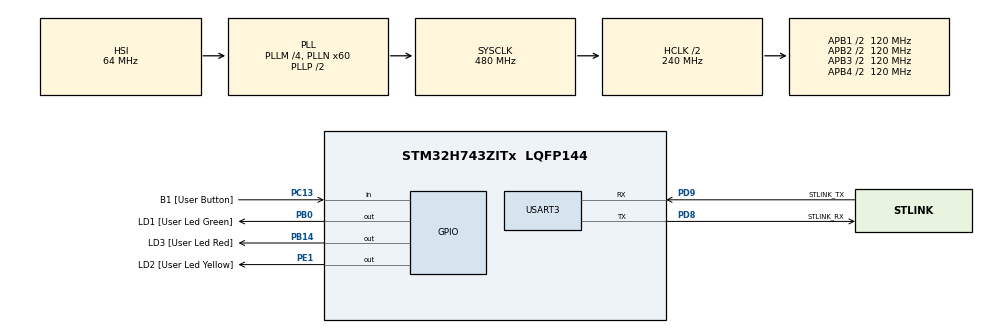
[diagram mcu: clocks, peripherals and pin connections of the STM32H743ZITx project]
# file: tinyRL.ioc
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CORTEX_M7.default_mode_Activation=1
Mcu.Family=STM32H7
Mcu.Name=STM32H743ZITx
Mcu.Package=LQFP144
NVIC.PriorityGroup=NVIC_PRIORITYGROUP_4
PA13\ (JTMS/SWDIO).GPIO_Label=JTMS
PA13\ (JTMS/SWDIO).Signal=DEBUG_JTMS-SWDIO
PA14\ (JTCK/SWCLK).GPIO_Label=JTCK
PA14\ (JTCK/SWCLK).Signal=DEBUG_JTCK-SWCLK
PB0.GPIO_Label=LD1 [User Led Green]
PB0.Signal=GPIO_Output
PB14.GPIO_Label=LD3 [User Led Red]
PB14.Signal=GPIO_Output
PC13.GPIO_Label=B1 [User Button]
PC13.Signal=GPIO_Input
PC14-OSC32_IN\ (OSC32_IN).Signal=RCC_OSC32_IN
PC15-OSC32_OUT\ (OSC32_OUT).Signal=RCC_OSC32_OUT
PD8.GPIO_Label=STLINK_RX
PD8.Mode=Asynchronous
PD8.Signal=USART3_TX
PD9.GPIO_Label=STLINK_TX
PD9.Mode=Asynchronous
PD9.Signal=USART3_RX
PE1.GPIO_Label=LD2 [User Led Yellow]
PE1.Signal=GPIO_Output
PH0-OSC_IN\ (PH0).Signal=RCC_OSC_IN
PH1-OSC_OUT\ (PH1).Signal=RCC_OSC_OUT
ProjectManager.HeapSize=0x200
ProjectManager.StackSize=0x400
ProjectManager.TargetToolchain=STM32CubeIDE
RCC.ADCFreq_Value=129000000
RCC.APB1Freq_Value=120000000
RCC.APB2Freq_Value=120000000
RCC.APB3Freq_Value=120000000
RCC.APB4Freq_Value=120000000
RCC.CortexFreq_Value=480000000
RCC.D1CPRE=RCC_SYSCLK_DIV1
RCC.D1PPRE=RCC_APB3_DIV2
RCC.D2PPRE1=RCC_APB1_DIV2
RCC.D2PPRE2=RCC_APB2_DIV2
RCC.D3PPRE=RCC_APB4_DIV2
RCC.DIVM1=4
RCC.DIVN1=60
RCC.DIVP1=2
RCC.DIVQ1=4
RCC.DIVR1=2
RCC.HCLKFreq_Value=240000000
RCC.HPRE=RCC_HCLK_DIV2
RCC.PLL1_VCI_Range=RCC_PLL1VCIRANGE_3
RCC.PLL1_VCO_SEL=RCC_PLL1VCOWIDE
RCC.PLLSourceVirtual=RCC_PLLSOURCE_HSI
RCC.PWR_Regulator_Voltage_Scale=PWR_REGULATOR_VOLTAGE_SCALE0
RCC.ProductRev=revV
RCC.SYSCLKFreq_VALUE=480000000
RCC.SYSCLKSource=RCC_SYSCLKSOURCE_PLLCLK
RCC.USBFreq_Value=240000000
USART3.VirtualMode-Asynchronous=VM_ASYNC
VP_MEMORYMAP_VS_MEMORYMAP.Mode=CurAppReg
board=NUCLEO-H743ZI2

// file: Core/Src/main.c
/* USER CODE BEGIN Header */
/**
 ******************************************************************************
 * @file           : main.c
 * @brief          : Main program body
 ******************************************************************************
 * @attention
 *
 * Copyright (c) 2026 STMicroelectronics.
 * All rights reserved.
 *
 * This software is licensed under terms that can be found in the LICENSE file
 * in the root directory of this software component.
 * If no LICENSE file comes with this software, it is provided AS-IS.
 *
 ******************************************************************************
 */
/* USER CODE END Header */
#include "main.h"

/* USER CODE BEGIN Includes */
#include "neural_net.h"
#include "uart.h"
#include "reinforce.h"
#include "utils.h"
#include "rng.h"
#include <math.h>
#include <stdio.h>
#include <string.h>

/* USER CODE END Includes */

UART_HandleTypeDef huart3;

/* USER CODE BEGIN PV */
#if TIME_LOG
static uint32_t num_episode = 0;   /* episodi conclusi (done inviato al PC) */
static uint32_t train_step  = 0;   /* update REINFORCE eseguiti */
#endif
/* USER CODE END PV */

void SystemClock_Config(void);
static void MPU_Config(void);
static void MX_GPIO_Init(void);
static void MX_USART3_UART_Init(void);

/* USER CODE BEGIN 0 */

/* ── Task: CartPole-v1 ────────────────────────────────────────────────────────
 * obs = [x, x_dot, theta, theta_dot], azioni discrete {0 = sinistra, 1 = destra}.
 * Terminazione: carrello oltre +-2.4 m, asta oltre +-12 gradi, o 500 step. */
#define CART_LIMIT  2.4f          /* +-2.4 m  */
#define POLE_LIMIT  0.20943951f   /* +-12 deg */

#if !USE_CONTINUOUS_ACTION
static float compute_reward(const float *obs, uint32_t act) {
    (void)obs; (void)act;
    return 1.0f;   // CartPole: +1 per ogni step non terminale
}
#else
static float compute_reward(const float *obs, const float *action) {
    (void)obs; (void)action;
    return 1.0f;
}
#endif

// Osservazione corrente condivisa con is_done (aggiornata nel loop prima di
// reinforce_step): la terminazione di CartPole dipende dallo stato, non solo
// dal contatore di step.
static float s_cur_obs[OBS_DIM];

static uint8_t is_done(uint32_t step_in_ep) {
    if (step_in_ep >= MAX_STEPS_PER_EP)   return 1;   // troncamento a 500 step
    if (fabsf(s_cur_obs[0]) > CART_LIMIT) return 1;   // fuori pista
    if (fabsf(s_cur_obs[2]) > POLE_LIMIT) return 1;   // asta caduta
    return 0;
}

#if BENCH_KERNELS
/* Micro-benchmark eseguito una volta all'avvio, prima del loop di training.
 * Attribuisce il costo del forward alle sue componenti: dice quanto del tempo
 * per step stia nelle funzioni trascendenti (che newlib implementa in
 * software) e quanto nel prodotto matrice-vettore.
 *
 * Su REINFORCE discreto il forward finisce con un softmax (expf per azione) e
 * il backward con i logf dell'entropia: sono le uniche trascendenti del
 * percorso caldo, e questo dice quanto pesano davvero.
 *
 * Emette righe "<<<BENCH>>>nome,cicli_per_chiamata". Il costo include
 * l'overhead di loop: la riga "loop" e' la baseline da sottrarre. Il `volatile
 * sink` impedisce a -Ofast di eliminare tutto come codice morto. */
static void bench_emit(const char *name, uint32_t cycles, uint32_t n) {
  char line[96];
  int k = snprintf(line, sizeof(line), "<<<BENCH>>>%s,%lu\n",
                   name, (unsigned long)(cycles / n));
  HAL_UART_Transmit(&huart3, (uint8_t *)line, k, 1000);
}

static void bench_kernels(Network *policy) {
  enum { NB = 4096 };
  volatile float sink = 0.f;
  float in[16], obs[OBS_DIM];
  uint32_t t0;

  for (int i = 0; i < 16; i++)
    in[i] = -4.0f + 0.5f * (float)i;          /* pre-attivazioni tipiche */
  for (int i = 0; i < OBS_DIM; i++)
    obs[i] = 0.1f * (float)i;

  t0 = dwt_ticks();
  for (int i = 0; i < NB; i++) sink += in[i & 15];
  bench_emit("loop", dwt_delta(t0, dwt_ticks()), NB);

  t0 = dwt_ticks();
  for (int i = 0; i < NB; i++) sink += expf(in[i & 15]);
  bench_emit("expf", dwt_delta(t0, dwt_ticks()), NB);

  t0 = dwt_ticks();
  for (int i = 0; i < NB; i++) sink += logf(fabsf(in[i & 15]) + 0.1f);
  bench_emit("logf", dwt_delta(t0, dwt_ticks()), NB);

  t0 = dwt_ticks();
  for (int i = 0; i < NB; i++) sink += tanhf(in[i & 15]);
  bench_emit("tanhf", dwt_delta(t0, dwt_ticks()), NB);

  t0 = dwt_ticks();
  for (int i = 0; i < NB; i++) sink += sqrtf(fabsf(in[i & 15]) + 0.1f);
  bench_emit("sqrtf", dwt_delta(t0, dwt_ticks()), NB);

  t0 = dwt_ticks();
  for (int i = 0; i < NB; i++) network_forward(policy, obs, NULL);
  bench_emit("policy_fwd", dwt_delta(t0, dwt_ticks()), NB);

  (void)sink;

  /* Il benchmark dura qualche decimo di secondo, durante i quali il PC sta
   * gia' trasmettendo e la RX va in overrun: stesso ripristino di on_train_end.
   * Senza, il flag ORE resta alto e la prima ricezione non riparte piu'. */
  __HAL_UART_CLEAR_OREFLAG(&huart3);
  __HAL_UART_SEND_REQ(&huart3, UART_RXDATA_FLUSH_REQUEST);
}
#endif /* BENCH_KERNELS */

static void on_train_begin(void) {
    HAL_GPIO_WritePin(LD2_GPIO_Port, LD2_Pin, GPIO_PIN_SET);
}

#if TIME_LOG
/* Una riga CSV di timing per ogni update, spedita subito dopo l'update stesso.
 * Il PC la appende al file mentre il training prosegue: niente buffer da
 * riempire e nessun dump unico da perdere, ogni riga e' indipendente. Formato:
 *   <<<PROF>>>episode,steps,total_ms,forward_ms,backward_ms,adam_ms\n
 * I tempi arrivano da g_train_timing (cicli a 64 bit) e vengono convertiti in
 * microsecondi, poi stampati come ms con 3 decimali (us/1000 . us%1000): niente
 * printf-float e niente long long, che newlib-nano non sempre supporta. */
static void prof_emit_row(UART_HandleTypeDef *huart)
{
  char line[128];
  uint32_t t = cycles64_to_us(g_train_timing.total_cycles);
  uint32_t f = cycles64_to_us(g_train_timing.forward_cycles);
  uint32_t b = cycles64_to_us(g_train_timing.backward_cycles);
  uint32_t a = cycles64_to_us(g_train_timing.adam_cycles);

  int n = snprintf(line, sizeof(line),
                   "<<<PROF>>>%lu,%lu,%lu.%03lu,%lu.%03lu,%lu.%03lu,%lu.%03lu\n",
                   (unsigned long)num_episode,
                   (unsigned long)train_step,
                   (unsigned long)(t / 1000), (unsigned long)(t % 1000),
                   (unsigned long)(f / 1000), (unsigned long)(f % 1000),
                   (unsigned long)(b / 1000), (unsigned long)(b % 1000),
                   (unsigned long)(a / 1000), (unsigned long)(a % 1000));
  HAL_UART_Transmit(huart, (uint8_t *)line, n, 1000);
}
#endif /* TIME_LOG */

static void on_train_end(void) {
    HAL_GPIO_WritePin(LD2_GPIO_Port, LD2_Pin, GPIO_PIN_RESET);

#if TIME_LOG
    /* I tempi (total/forward/backward/adam) di questo update sono in
     * g_train_timing, misurati dentro reinforce_update: spediamo la riga adesso,
     * prima del flush RX qui sotto, cosi' il PC la legge nello stesso momento in
     * cui torna a leggere l'azione. */
    prof_emit_row(&huart3);
    train_step++;
#endif

    // Durante la pausa di training la UART e' andata in overrun e nella RX si
    // sono accumulati byte (ritrasmissioni del PC). Azzeriamo l'overrun e
    // svuotiamo la RX cosi' la lettura riparte allineata su un frame nuovo.
    __HAL_UART_CLEAR_OREFLAG(&huart3);
    __HAL_UART_SEND_REQ(&huart3, UART_RXDATA_FLUSH_REQUEST);
}
/* USER CODE END 0 */

int main(void) {

  /* USER CODE BEGIN 1 */
  SCB_EnableICache();
  SCB_EnableDCache();
  /* USER CODE END 1 */

  /* MPU Configuration--------------------------------------------------------*/
  MPU_Config();

  /* MCU Configuration--------------------------------------------------------*/

  /* Reset of all peripherals, Initializes the Flash interface and the Systick.
   */
  HAL_Init();

  /* Configure the system clock */
  SystemClock_Config();

  /* Initialize all configured peripherals */
  MX_GPIO_Init();
  MX_USART3_UART_Init();
  /* USER CODE BEGIN 2 */
  dwt_init();
  rng_seed(HAL_GetTick());

  Network        policy;
  ReinforceAgent agent;

#if USE_CONTINUOUS_ACTION
  int topology[]        = {OBS_DIM, 64, 64, REINFORCE_POLICY_OUT_DIM};
  ActivationType acts[] = {ACT_RELU, ACT_RELU, ACT_NONE};
#else
  int topology[]        = {OBS_DIM, 64, REINFORCE_POLICY_OUT_DIM};
  ActivationType acts[] = {ACT_RELU, ACT_SOFTMAX};
#endif

  int init_ok = network_init(&policy, sizeof(topology) / sizeof(topology[0]),
                             topology, acts) &&
                reinforce_agent_init(&agent, &policy,
                                     compute_reward, is_done,
                                     on_train_begin, on_train_end);

  HAL_GPIO_WritePin(GPIOB, GPIO_PIN_0,  GPIO_PIN_RESET);
  HAL_GPIO_WritePin(GPIOB, GPIO_PIN_14, GPIO_PIN_RESET);
  if (init_ok) {
      HAL_GPIO_WritePin(GPIOB, GPIO_PIN_0, GPIO_PIN_SET);   // LD1 = ready
#if BENCH_KERNELS
      bench_kernels(&policy);
#endif
  } else {
      HAL_GPIO_WritePin(GPIOB, GPIO_PIN_14, GPIO_PIN_SET);  // LD3 = alloc fail
      while (1);
  }

  float obs[OBS_DIM];
#if USE_CONTINUOUS_ACTION
  float action[N_ACT_DIMS];
#endif
  /* USER CODE END 2 */

  /* Infinite loop */
  /* USER CODE BEGIN WHILE */
  while (1) {
    if (!uart_recv_floats(&huart3, obs, OBS_DIM, 100))
        continue;

    // Ultima difesa (oltre a checksum+ETX in uart_recv_floats): scarta i frame
    // con osservazioni non finite o di magnitudine assurda. Un frame disallineato
    // post-overrun puo' contenere float spazzatura finiti ma enormi (es. 1e30):
    // passerebbero isfinite, ma un obs gigante avvelenerebbe i ritorni
    // Monte-Carlo. La soglia 1000 e' molto sopra i valori legit.
    int obs_ok = 1;
    for (int i = 0; i < OBS_DIM; i++)
        if (!isfinite(obs[i]) || fabsf(obs[i]) > 1000.0f) { obs_ok = 0; break; }
    if (!obs_ok)
        continue;

    memcpy(s_cur_obs, obs, OBS_DIM * sizeof(float));   // letto da is_done()

#if USE_CONTINUOUS_ACTION
    reinforce_step(&agent, obs, action);
    for (int i = 0; i < N_ACT_DIMS; i++) {
        if (action[i] >  ACTION_SCALE) action[i] =  ACTION_SCALE;
        if (action[i] < -ACTION_SCALE) action[i] = -ACTION_SCALE;
    }
    uart_send_action(&huart3, action, N_ACT_DIMS, agent.done, 100);
#else
    uint32_t act = reinforce_step_discrete(&agent, obs);
    uart_send_action_discrete(&huart3, act, agent.done, 100);
#endif

#if TIME_LOG
    if (agent.done)
        num_episode++;   /* colonna "episode" delle righe di timing */
#endif

    /* USER CODE END WHILE */

  }
}

void SystemClock_Config(void) {
  RCC_OscInitTypeDef RCC_OscInitStruct = {0};
  RCC_ClkInitTypeDef RCC_ClkInitStruct = {0};

  HAL_PWREx_ConfigSupply(PWR_LDO_SUPPLY);

  /* VOS1 richiesto per 480 MHz */
  __HAL_PWR_VOLTAGESCALING_CONFIG(PWR_REGULATOR_VOLTAGE_SCALE1);
  while (!__HAL_PWR_GET_FLAG(PWR_FLAG_VOSRDY)) {}

  /* HSI 64 MHz → PLL1: DIVM=4 (16 MHz), DIVN=60 (960 MHz VCO), DIVP=2 → 480 MHz SYSCLK */
  RCC_OscInitStruct.OscillatorType      = RCC_OSCILLATORTYPE_HSI;
  RCC_OscInitStruct.HSIState            = RCC_HSI_DIV1;
  RCC_OscInitStruct.HSICalibrationValue = RCC_HSICALIBRATION_DEFAULT;
  RCC_OscInitStruct.PLL.PLLState        = RCC_PLL_ON;
  RCC_OscInitStruct.PLL.PLLSource       = RCC_PLLSOURCE_HSI;
  RCC_OscInitStruct.PLL.PLLM            = 4;
  RCC_OscInitStruct.PLL.PLLN            = 60;
  RCC_OscInitStruct.PLL.PLLP            = 2;   /* SYSCLK = 480 MHz */
  RCC_OscInitStruct.PLL.PLLQ            = 4;   /* 240 MHz, disponibile per periferiche */
  RCC_OscInitStruct.PLL.PLLR            = 2;
  RCC_OscInitStruct.PLL.PLLRGE          = RCC_PLL1VCIRANGE_3; /* VCI 8–16 MHz */
  RCC_OscInitStruct.PLL.PLLVCOSEL       = RCC_PLL1VCOWIDE;    /* VCO 192–960 MHz */
  RCC_OscInitStruct.PLL.PLLFRACN        = 0;
  if (HAL_RCC_OscConfig(&RCC_OscInitStruct) != HAL_OK) {
    Error_Handler();
  }

  /* SYSCLK = PLL1P = 480 MHz
     AHB = 240 MHz (DIV2), APB1/2/3/4 = 120 MHz (DIV2) */
  RCC_ClkInitStruct.ClockType      = RCC_CLOCKTYPE_HCLK | RCC_CLOCKTYPE_SYSCLK |
                                     RCC_CLOCKTYPE_PCLK1 | RCC_CLOCKTYPE_PCLK2 |
                                     RCC_CLOCKTYPE_D3PCLK1 | RCC_CLOCKTYPE_D1PCLK1;
  RCC_ClkInitStruct.SYSCLKSource   = RCC_SYSCLKSOURCE_PLLCLK;
  RCC_ClkInitStruct.SYSCLKDivider  = RCC_SYSCLK_DIV1;
  RCC_ClkInitStruct.AHBCLKDivider  = RCC_HCLK_DIV2;
  RCC_ClkInitStruct.APB3CLKDivider = RCC_APB3_DIV2;
  RCC_ClkInitStruct.APB1CLKDivider = RCC_APB1_DIV2;
  RCC_ClkInitStruct.APB2CLKDivider = RCC_APB2_DIV2;
  RCC_ClkInitStruct.APB4CLKDivider = RCC_APB4_DIV2;

  /* Flash latency 4 cicli richiesti a 480 MHz VOS1 */
  if (HAL_RCC_ClockConfig(&RCC_ClkInitStruct, FLASH_LATENCY_4) != HAL_OK) {
    Error_Handler();
  }
}

static void MX_USART3_UART_Init(void) {

  huart3.Instance = USART3;
  huart3.Init.BaudRate = 115200;
  huart3.Init.WordLength = UART_WORDLENGTH_8B;
  huart3.Init.StopBits = UART_STOPBITS_1;
  huart3.Init.Parity = UART_PARITY_NONE;
  huart3.Init.Mode = UART_MODE_TX_RX;
  huart3.Init.HwFlowCtl = UART_HWCONTROL_NONE;
  huart3.Init.OverSampling = UART_OVERSAMPLING_16;
  huart3.Init.OneBitSampling = UART_ONE_BIT_SAMPLE_DISABLE;
  huart3.Init.ClockPrescaler = UART_PRESCALER_DIV1;
  huart3.AdvancedInit.AdvFeatureInit = UART_ADVFEATURE_NO_INIT;
  if (HAL_UART_Init(&huart3) != HAL_OK) {
    Error_Handler();
  }
  if (HAL_UARTEx_SetTxFifoThreshold(&huart3, UART_TXFIFO_THRESHOLD_1_8) !=
      HAL_OK) {
    Error_Handler();
  }
  if (HAL_UARTEx_SetRxFifoThreshold(&huart3, UART_RXFIFO_THRESHOLD_1_8) !=
      HAL_OK) {
    Error_Handler();
  }
  if (HAL_UARTEx_DisableFifoMode(&huart3) != HAL_OK) {
    Error_Handler();
  }
}

static void MX_GPIO_Init(void) {
  GPIO_InitTypeDef GPIO_InitStruct = {0};

  /* GPIO Ports Clock Enable */
  __HAL_RCC_GPIOC_CLK_ENABLE();
  __HAL_RCC_GPIOH_CLK_ENABLE();
  __HAL_RCC_GPIOB_CLK_ENABLE();
  __HAL_RCC_GPIOD_CLK_ENABLE();
  __HAL_RCC_GPIOA_CLK_ENABLE();
  __HAL_RCC_GPIOE_CLK_ENABLE();

  /*Configure GPIO pin Output Level */
  HAL_GPIO_WritePin(GPIOB, LD1_Pin | LD3_Pin, GPIO_PIN_RESET);

  /*Configure GPIO pin Output Level */
  HAL_GPIO_WritePin(LD2_GPIO_Port, LD2_Pin, GPIO_PIN_RESET);

  /*Configure GPIO pin : B1_Pin */
  GPIO_InitStruct.Pin = B1_Pin;
  GPIO_InitStruct.Mode = GPIO_MODE_INPUT;
  GPIO_InitStruct.Pull = GPIO_NOPULL;
  HAL_GPIO_Init(B1_GPIO_Port, &GPIO_InitStruct);

  /*Configure GPIO pins : LD1_Pin LD3_Pin */
  GPIO_InitStruct.Pin = LD1_Pin | LD3_Pin;
  GPIO_InitStruct.Mode = GPIO_MODE_OUTPUT_PP;
  GPIO_InitStruct.Pull = GPIO_NOPULL;
  GPIO_InitStruct.Speed = GPIO_SPEED_FREQ_LOW;
  HAL_GPIO_Init(GPIOB, &GPIO_InitStruct);

  /*Configure GPIO pin : LD2_Pin */
  GPIO_InitStruct.Pin = LD2_Pin;
  GPIO_InitStruct.Mode = GPIO_MODE_OUTPUT_PP;
  GPIO_InitStruct.Pull = GPIO_NOPULL;
  GPIO_InitStruct.Speed = GPIO_SPEED_FREQ_LOW;
  HAL_GPIO_Init(LD2_GPIO_Port, &GPIO_InitStruct);

}

/* MPU Configuration */

void MPU_Config(void) {
  MPU_Region_InitTypeDef MPU_InitStruct = {0};

  /* Disables the MPU */
  HAL_MPU_Disable();

  /** Initializes and configures the Region and the memory to be protected
   */
  MPU_InitStruct.Enable = MPU_REGION_ENABLE;
  MPU_InitStruct.Number = MPU_REGION_NUMBER0;
  MPU_InitStruct.BaseAddress = 0x0;
  MPU_InitStruct.Size = MPU_REGION_SIZE_4GB;
  MPU_InitStruct.SubRegionDisable = 0x87;
  MPU_InitStruct.TypeExtField = MPU_TEX_LEVEL0;
  MPU_InitStruct.AccessPermission = MPU_REGION_NO_ACCESS;
  MPU_InitStruct.DisableExec = MPU_INSTRUCTION_ACCESS_DISABLE;
  MPU_InitStruct.IsShareable = MPU_ACCESS_SHAREABLE;
  MPU_InitStruct.IsCacheable = MPU_ACCESS_NOT_CACHEABLE;
  MPU_InitStruct.IsBufferable = MPU_ACCESS_NOT_BUFFERABLE;

  HAL_MPU_ConfigRegion(&MPU_InitStruct);
  /* Enables the MPU */
  HAL_MPU_Enable(MPU_PRIVILEGED_DEFAULT);
}

void Error_Handler(void) {
  __disable_irq();
  while (1) {
  }
}
